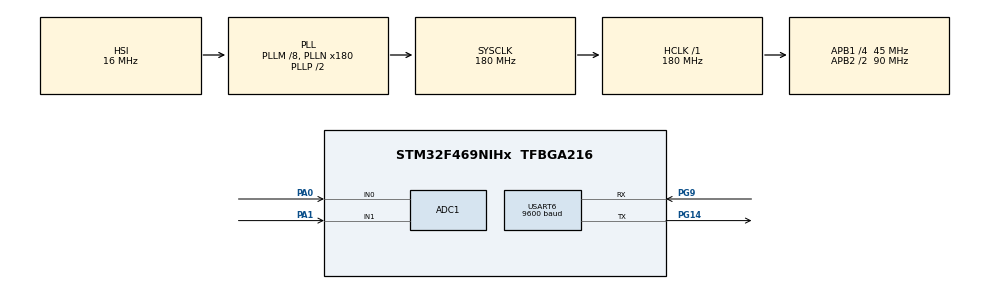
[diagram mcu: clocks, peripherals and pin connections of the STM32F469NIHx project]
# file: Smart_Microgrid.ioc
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ADC1.Channel-0\#ChannelRegularConversion=ADC_CHANNEL_0
ADC1.ContinuousConvMode=ENABLE
ADC1.NbrOfConversionFlag=1
ADC1.Rank-0\#ChannelRegularConversion=1
ADC1.SamplingTime-0\#ChannelRegularConversion=ADC_SAMPLETIME_3CYCLES
ADC1.master=1
Mcu.Family=STM32F4
Mcu.Name=STM32F469NIHx
Mcu.Package=TFBGA216
NVIC.PriorityGroup=NVIC_PRIORITYGROUP_4
PA0/WKUP.Signal=ADCx_IN0
PA1.Signal=ADCx_IN1
PG14.Mode=Asynchronous
PG14.Signal=USART6_TX
PG9.Mode=Asynchronous
PG9.Signal=USART6_RX
PH0/OSC_IN.Mode=HSE-External-Oscillator
PH0/OSC_IN.Signal=RCC_OSC_IN
PH1/OSC_OUT.Mode=HSE-External-Oscillator
PH1/OSC_OUT.Signal=RCC_OSC_OUT
ProjectManager.HeapSize=0x200
ProjectManager.StackSize=0x400
ProjectManager.TargetToolchain=STM32CubeIDE
RCC.AHBFreq_Value=180000000
RCC.APB1CLKDivider=RCC_HCLK_DIV4
RCC.APB1Freq_Value=45000000
RCC.APB1TimFreq_Value=90000000
RCC.APB2CLKDivider=RCC_HCLK_DIV2
RCC.APB2Freq_Value=90000000
RCC.APB2TimFreq_Value=180000000
RCC.CortexFreq_Value=180000000
RCC.HCLKFreq_Value=180000000
RCC.PLLM=8
RCC.PLLN=180
RCC.SYSCLKFreq_VALUE=180000000
RCC.SYSCLKSource=RCC_SYSCLKSOURCE_PLLCLK
RCC.USBFreq_Value=90000000
RCC.VCOOutputFreq_Value=360000000
SH.ADCx_IN0.0=ADC1_IN0,IN0
SH.ADCx_IN1.0=ADC1_IN1,IN1
USART6.BaudRate=9600
USART6.VirtualMode=VM_ASYNC
board=custom

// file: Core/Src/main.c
/* USER CODE BEGIN Header */
/**
  ******************************************************************************
  * @file           : main.c
  * @brief          : Main program body
  ******************************************************************************
  * @attention
  *
  * Copyright (c) 2025 STMicroelectronics.
  * All rights reserved.
  *
  * This software is licensed under terms that can be found in the LICENSE file
  * in the root directory of this software component.
  * If no LICENSE file comes with this software, it is provided AS-IS.
  *
  ******************************************************************************
  */
/* USER CODE END Header */
#include "main.h"
#include "stdio.h"
#include "string.h"

ADC_HandleTypeDef hadc1;

UART_HandleTypeDef huart6;

/* USER CODE BEGIN PV */
char buffer[50];
uint16_t adc_current_value;
uint16_t adc_voltage_value;
/* USER CODE END PV */

void SystemClock_Config(void);
static void MX_GPIO_Init(void);
static void MX_ADC1_Init(void);
static void MX_USART6_UART_Init(void);

/* USER CODE BEGIN 0 */
void send_to_esp8266(const char* message) {
  HAL_UART_Transmit(&huart6, (uint8_t*)message, strlen(message), HAL_MAX_DELAY);
}
uint16_t read_adc_channel(uint32_t channel) {
   ADC_ChannelConfTypeDef sConfig = {0};
   sConfig.Channel = channel;
   sConfig.Rank = 1;
   sConfig.SamplingTime = ADC_SAMPLETIME_3CYCLES;
   HAL_ADC_ConfigChannel(&hadc1, &sConfig);
   HAL_ADC_Start(&hadc1);
   HAL_ADC_PollForConversion(&hadc1, HAL_MAX_DELAY);
   uint16_t value = HAL_ADC_GetValue(&hadc1);
   HAL_ADC_Stop(&hadc1);
   return value;
}
void send_current_and_voltage_to_esp8266(uint16_t current, uint16_t voltage) {
   snprintf(buffer, sizeof(buffer), "{\"Current\":%d, \"Voltage\":%d}\n", current, voltage);
   send_to_esp8266(buffer);
}

/* USER CODE END 0 */

int main(void)
{

  /* MCU Configuration--------------------------------------------------------*/

  /* Reset of all peripherals, Initializes the Flash interface and the Systick. */
  HAL_Init();

  /* Configure the system clock */
  SystemClock_Config();

  /* Initialize all configured peripherals */
  MX_GPIO_Init();
  MX_ADC1_Init();
  MX_USART6_UART_Init();

  /* Infinite loop */
  while (1)
  {
	  adc_current_value = read_adc_channel(ADC_CHANNEL_0); // PA0 → courant
	  adc_voltage_value = read_adc_channel(ADC_CHANNEL_1); // PA1 → tension
	  send_current_and_voltage_to_esp8266(adc_current_value, adc_voltage_value);
	  HAL_Delay(5000);

  }
}

void SystemClock_Config(void)
{
  RCC_OscInitTypeDef RCC_OscInitStruct = {0};
  RCC_ClkInitTypeDef RCC_ClkInitStruct = {0};

  /** Configure the main internal regulator output voltage
  */
  __HAL_RCC_PWR_CLK_ENABLE();
  __HAL_PWR_VOLTAGESCALING_CONFIG(PWR_REGULATOR_VOLTAGE_SCALE1);

  /** Initializes the RCC Oscillators according to the specified parameters
  * in the RCC_OscInitTypeDef structure.
  */
  RCC_OscInitStruct.OscillatorType = RCC_OSCILLATORTYPE_HSI;
  RCC_OscInitStruct.HSIState = RCC_HSI_ON;
  RCC_OscInitStruct.HSICalibrationValue = RCC_HSICALIBRATION_DEFAULT;
  RCC_OscInitStruct.PLL.PLLState = RCC_PLL_ON;
  RCC_OscInitStruct.PLL.PLLSource = RCC_PLLSOURCE_HSI;
  RCC_OscInitStruct.PLL.PLLM = 8;
  RCC_OscInitStruct.PLL.PLLN = 180;
  RCC_OscInitStruct.PLL.PLLP = RCC_PLLP_DIV2;
  RCC_OscInitStruct.PLL.PLLQ = 4;
  RCC_OscInitStruct.PLL.PLLR = 2;
  if (HAL_RCC_OscConfig(&RCC_OscInitStruct) != HAL_OK)
  {
    Error_Handler();
  }

  /** Activate the Over-Drive mode
  */
  if (HAL_PWREx_EnableOverDrive() != HAL_OK)
  {
    Error_Handler();
  }

  /** Initializes the CPU, AHB and APB buses clocks
  */
  RCC_ClkInitStruct.ClockType = RCC_CLOCKTYPE_HCLK|RCC_CLOCKTYPE_SYSCLK
                              |RCC_CLOCKTYPE_PCLK1|RCC_CLOCKTYPE_PCLK2;
  RCC_ClkInitStruct.SYSCLKSource = RCC_SYSCLKSOURCE_PLLCLK;
  RCC_ClkInitStruct.AHBCLKDivider = RCC_SYSCLK_DIV1;
  RCC_ClkInitStruct.APB1CLKDivider = RCC_HCLK_DIV4;
  RCC_ClkInitStruct.APB2CLKDivider = RCC_HCLK_DIV2;

  if (HAL_RCC_ClockConfig(&RCC_ClkInitStruct, FLASH_LATENCY_5) != HAL_OK)
  {
    Error_Handler();
  }
}

static void MX_ADC1_Init(void)
{

  ADC_ChannelConfTypeDef sConfig = {0};

  /** Configure the global features of the ADC (Clock, Resolution, Data Alignment and number of conversion)
  */
  hadc1.Instance = ADC1;
  hadc1.Init.ClockPrescaler = ADC_CLOCK_SYNC_PCLK_DIV4;
  hadc1.Init.Resolution = ADC_RESOLUTION_12B;
  hadc1.Init.ScanConvMode = DISABLE;
  hadc1.Init.ContinuousConvMode = ENABLE;
  hadc1.Init.DiscontinuousConvMode = DISABLE;
  hadc1.Init.ExternalTrigConvEdge = ADC_EXTERNALTRIGCONVEDGE_NONE;
  hadc1.Init.ExternalTrigConv = ADC_SOFTWARE_START;
  hadc1.Init.DataAlign = ADC_DATAALIGN_RIGHT;
  hadc1.Init.NbrOfConversion = 1;
  hadc1.Init.DMAContinuousRequests = DISABLE;
  hadc1.Init.EOCSelection = ADC_EOC_SINGLE_CONV;
  if (HAL_ADC_Init(&hadc1) != HAL_OK)
  {
    Error_Handler();
  }

  /** Configure for the selected ADC regular channel its corresponding rank in the sequencer and its sample time.
  */
  sConfig.Channel = ADC_CHANNEL_0;
  sConfig.Rank = 1;
  sConfig.SamplingTime = ADC_SAMPLETIME_3CYCLES;
  if (HAL_ADC_ConfigChannel(&hadc1, &sConfig) != HAL_OK)
  {
    Error_Handler();
  }

}

static void MX_USART6_UART_Init(void)
{

  huart6.Instance = USART6;
  huart6.Init.BaudRate = 9600;
  huart6.Init.WordLength = UART_WORDLENGTH_8B;
  huart6.Init.StopBits = UART_STOPBITS_1;
  huart6.Init.Parity = UART_PARITY_NONE;
  huart6.Init.Mode = UART_MODE_TX_RX;
  huart6.Init.HwFlowCtl = UART_HWCONTROL_NONE;
  huart6.Init.OverSampling = UART_OVERSAMPLING_16;
  if (HAL_UART_Init(&huart6) != HAL_OK)
  {
    Error_Handler();
  }

}

static void MX_GPIO_Init(void)
{

  /* GPIO Ports Clock Enable */
  __HAL_RCC_GPIOG_CLK_ENABLE();
  __HAL_RCC_GPIOH_CLK_ENABLE();
  __HAL_RCC_GPIOA_CLK_ENABLE();

}

void Error_Handler(void)
{
  __disable_irq();
  while (1)
  {
  }
}
